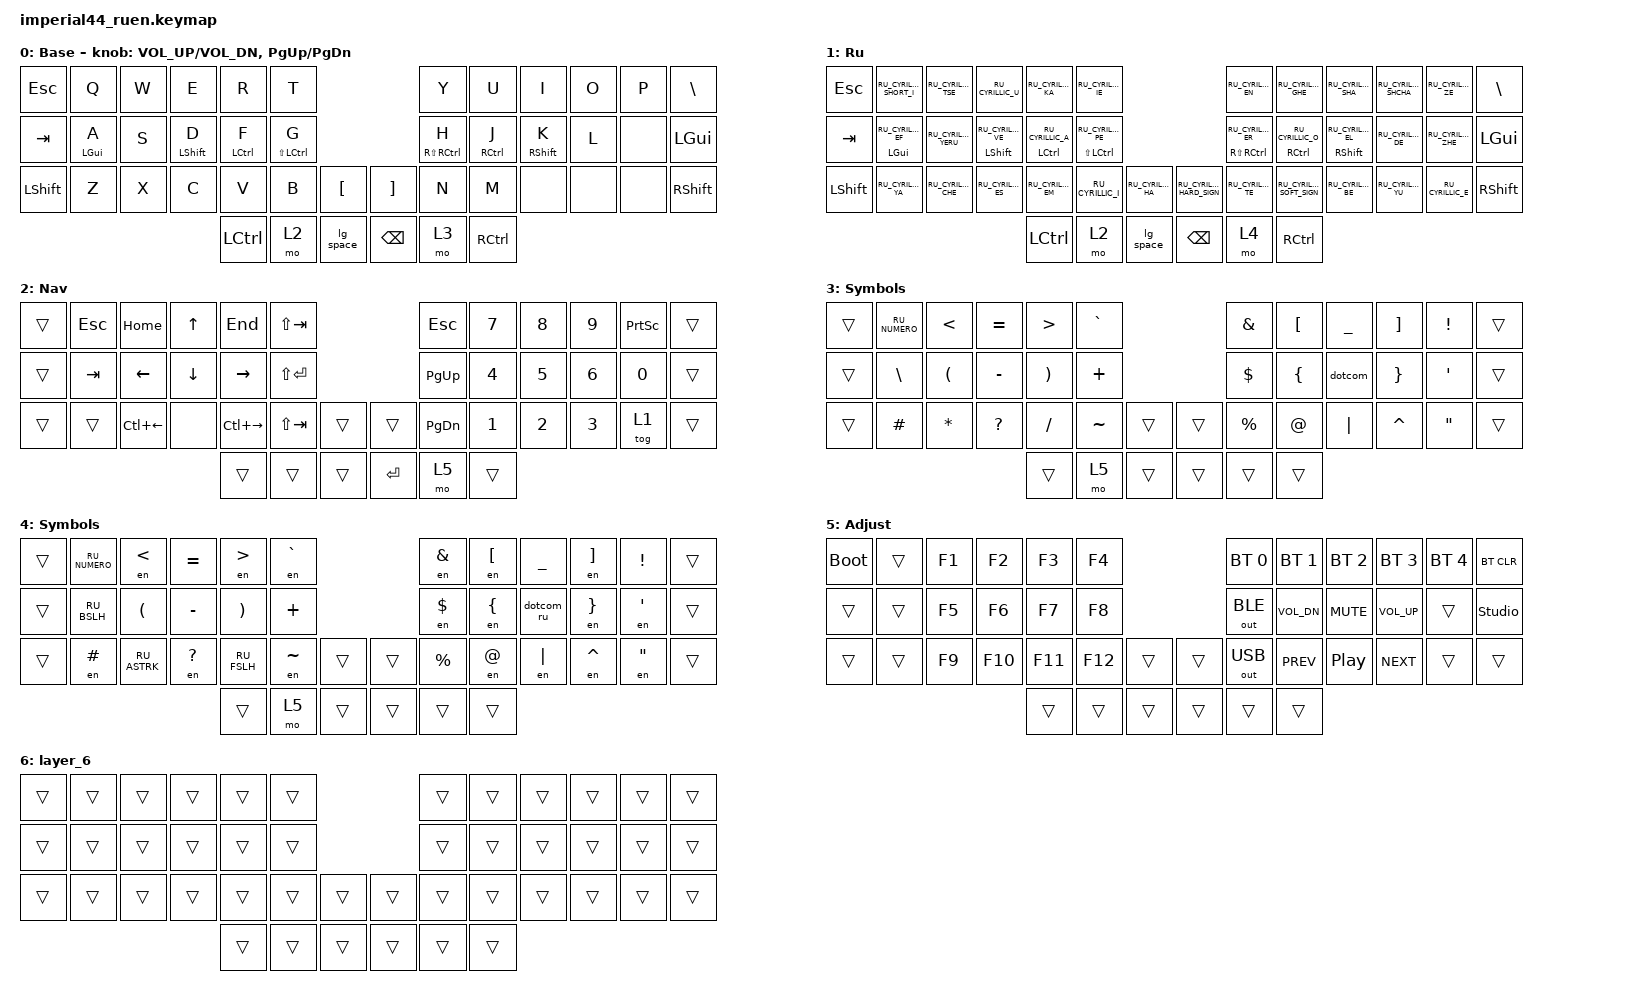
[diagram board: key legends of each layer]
#include "keys_ru.h"
#include <behaviors.dtsi>
#include <dt-bindings/zmk/bt.h>
#include <dt-bindings/zmk/keys.h>
#include <dt-bindings/zmk/outputs.h>

&mt {
    tapping-term-ms = <200>;
    flavor = "tap-preferred";
    quick-tap-ms = <175>;
};

/ {
    combos {
        compatible = "zmk,combos";

        cmben {
            bindings = <&layer_en>;
            key-positions = <15 16>;
            layers = <1>;
        };

        cmbru {
            bindings = <&layer_ru>;
            key-positions = <15 16>;
            layers = <0>;
        };

        dot {
            bindings = <&kp RU_DOT>;
            key-positions = <20 21>;
            layers = <1>;
        };

        comma {
            bindings = <&kp RU_COMMA>;
            key-positions = <19 20>;
            layers = <1>;
        };

        ru_h {
            bindings = <&kp LEFT_BRACKET>;
            key-positions = <8 9>;
        };

        ru_solid_sign {
            bindings = <&kp RIGHT_BRACKET>;
            key-positions = <7 8>;
        };

        comma_en {
            bindings = <&kp COMMA>;
            key-positions = <19 20>;
            layers = <0>;
        };

        dot_en {
            bindings = <&kp DOT>;
            key-positions = <20 21>;
            layers = <0>;
        };

        kaps_word {
            bindings = <&caps_word>;
            key-positions = <15 20>;
        };
    };

    macros {
        to_ru: to_ru {
            compatible = "zmk,behavior-macro";
            #binding-cells = <0>;
            bindings = <&kp LG(SPACE)>;
            label = "TO_RU";
            wait-ms = <0>;
            tap-ms = <30>;
        };

        to_en: to_en {
            compatible = "zmk,behavior-macro";
            #binding-cells = <0>;
            bindings = <&kp LG(SPACE)>;
            label = "TO_EN";
            wait-ms = <0>;
            tap-ms = <30>;
        };

        layer_en: layer_en {
            compatible = "zmk,behavior-macro";
            #binding-cells = <0>;
            bindings = <&to 0 &to_en>;
            label = "LAYER_EN";
            wait-ms = <0>;
            tap-ms = <30>;
        };

        layer_ru: layer_ru {
            compatible = "zmk,behavior-macro";
            #binding-cells = <0>;
            bindings = <&to 1 &to_ru>;
            label = "LAYER_RU";
            tap-ms = <30>;
            wait-ms = <0>;
        };

        en: en {
            compatible = "zmk,behavior-macro-one-param";
            #binding-cells = <1>;
            bindings =
                <&to_en>,
                <&macro_press>,
                <&macro_param_1to1 &kp MACRO_PLACEHOLDER>,
                <&macro_pause_for_release>,
                <&macro_release>,
                <&macro_param_1to1 &kp MACRO_PLACEHOLDER>,
                <&macro_tap>,
                <&to_ru>;

            label = "EN";
            wait-ms = <0>;
            tap-ms = <30>;
        };

        lg_tog: lg_tog {
            compatible = "zmk,behavior-macro";
            #binding-cells = <0>;
            bindings = <&kp LG(SPACE) &tog 1>;
            label = "LG_TOG";
        };
    };

    behaviors {
        lg_space: lg_space {
            compatible = "zmk,behavior-mod-morph";
            label = "LG_SPACE";
            bindings = <&kp SPACE>, <&lg_tog>;

            #binding-cells = <0>;
            mods = <(MOD_LGUI)>;
        };

        dotcom: dotcom {
            compatible = "zmk,behavior-tap-dance";
            label = "DOTCOM";
            #binding-cells = <0>;
            bindings = <&kp SEMI>, <&kp COLON>;
        };

        dotcom_ru: dotcom_ru {
            compatible = "zmk,behavior-tap-dance";
            label = "DOTCOM_RU";
            #binding-cells = <0>;
            bindings = <&en SEMI>, <&en COLON>;
        };
    };

    keymap {
        compatible = "zmk,keymap";

        en {
            bindings = <
&kp ESC    &kp Q           &kp W  &kp E             &kp R               &kp T                                               &kp Y            &kp U        &kp I              &kp O  &kp P  &kp BSLH
&kp TAB    &mt LEFT_GUI A  &kp S  &mt LEFT_SHIFT D  &mt LEFT_CONTROL F  &mt LS(LEFT_CONTROL) G                              &mt RS(RCTRL) H  &mt RCTRL J  &mt RIGHT_SHIFT K  &kp L  &none  &kp LGUI
&kp LSHFT  &kp Z           &kp X  &kp C             &kp V               &kp B                   &kp LBKT     &kp RBKT       &kp N            &kp M        &none              &none  &none  &kp RSHFT
                                                    &kp LCTRL           &mo 2                   &lg_space    &kp BACKSPACE  &mo 3            &kp RCTRL
            >;

            display-name = "Base";
            sensor-bindings =
                <&inc_dec_kp C_VOL_UP C_VOL_DN>,
                <&inc_dec_kp PG_UP PG_DN>;
        };

        ru {
            display-name = "Ru";
            bindings = <
&kp ESC    &kp RU_CYRILLIC_SHORT_I      &kp RU_CYRILLIC_TSE   &kp RU_CYRILLIC_U         &kp RU_CYRILLIC_KA       &kp RU_CYRILLIC_IE                                                             &kp RU_CYRILLIC_EN            &kp RU_CYRILLIC_GHE        &kp RU_CYRILLIC_SHA             &kp RU_CYRILLIC_SHCHA  &kp RU_CYRILLIC_ZE   &kp BSLH
&kp TAB    &mt LEFT_GUI RU_CYRILLIC_EF  &kp RU_CYRILLIC_YERU  &mt LSHFT RU_CYRILLIC_VE  &mt LCTRL RU_CYRILLIC_A  &mt LS(LCTRL) RU_CYRILLIC_PE                                                   &mt RS(RCTRL) RU_CYRILLIC_ER  &mt RCTRL RU_CYRILLIC_O    &mt RIGHT_SHIFT RU_CYRILLIC_EL  &kp RU_CYRILLIC_DE     &kp RU_CYRILLIC_ZHE  &kp LGUI
&kp LSHFT  &kp RU_CYRILLIC_YA           &kp RU_CYRILLIC_CHE   &kp RU_CYRILLIC_ES        &kp RU_CYRILLIC_EM       &kp RU_CYRILLIC_I             &kp RU_CYRILLIC_HA    &kp RU_CYRILLIC_HARD_SIGN  &kp RU_CYRILLIC_TE            &kp RU_CYRILLIC_SOFT_SIGN  &kp RU_CYRILLIC_BE              &kp RU_CYRILLIC_YU     &kp RU_CYRILLIC_E    &kp RSHFT
                                                                                        &kp LCTRL                &mo 2                         &lg_space             &kp BACKSPACE              &mo 4                         &kp RCTRL
            >;
        };

        nav {
            bindings = <
&trans  &kp ESC  &kp HOME      &kp UP    &kp END          &kp LS(TAB)                       &kp ESC        &kp N7        &kp N8        &kp N9        &kp PRINTSCREEN  &trans
&trans  &kp TAB  &kp LEFT      &kp DOWN  &kp RIGHT_ARROW  &kp LS(RET)                       &kp PAGE_UP    &kp NUMBER_4  &kp NUMBER_5  &kp N6        &kp N0           &trans
&trans  &trans   &kp LC(LEFT)  &none     &kp LC(RIGHT)    &kp LS(TAB)  &trans    &trans     &kp PAGE_DOWN  &kp N1        &kp NUMBER_2  &kp NUMBER_3  &tog 1           &trans
                                         &trans           &trans       &trans    &kp ENTER  &mo 5          &trans
            >;

            display-name = "Nav";
        };

        sym_en {
            bindings = <
&trans  &kp RU_NUMERO  &kp LT    &kp EQUAL  &kp GT    &kp GRAVE                    &kp AMPERSAND  &kp LBKT     &kp UNDER  &kp RBKT   &kp EXCL  &trans
&trans  &kp BSLH       &kp LPAR  &kp MINUS  &kp RPAR  &kp PLUS                     &kp DOLLAR     &kp LBRC     &dotcom    &kp RBRC   &kp SQT   &trans
&trans  &kp HASH       &kp STAR  &kp QMARK  &kp FSLH  &kp TILDE  &trans    &trans  &kp PERCENT    &kp AT_SIGN  &kp PIPE   &kp CARET  &kp DQT   &trans
                                            &trans    &mo 5      &trans    &trans  &trans         &trans
            >;

            display-name = "Symbols";
        };

        sym_ru {
            display-name = "Symbols";
            bindings = <
&trans  &kp RU_NUMERO  &en LT        &kp EQUAL  &en GT       &en GRAVE                    &en AMPERSAND  &en LBKT     &kp UNDER   &en RBKT   &kp EXCLAMATION  &trans
&trans  &kp RU_BSLH    &kp LPAR      &kp MINUS  &kp RPAR     &kp PLUS                     &en DOLLAR     &en LBRC     &dotcom_ru  &en RBRC   &en SQT          &trans
&trans  &en HASH       &kp RU_ASTRK  &en QMARK  &kp RU_FSLH  &en TILDE  &trans    &trans  &kp PERCENT    &en AT_SIGN  &en PIPE    &en CARET  &en DQT          &trans
                                                &trans       &mo 5      &trans    &trans  &trans         &trans
            >;
        };

        adj {
            bindings = <
&bootloader  &trans  &kp F1  &kp F2   &kp F3   &kp F4                     &bt BT_SEL 0  &bt BT_SEL 1  &bt BT_SEL 2      &bt BT_SEL 3  &bt BT_SEL 4  &bt BT_CLR
&trans       &trans  &kp F5  &kp F6   &kp F7   &kp F8                     &out OUT_BLE  &kp C_VOL_DN  &kp C_MUTE        &kp C_VOL_UP  &trans        &studio_unlock
&trans       &trans  &kp F9  &kp F10  &kp F11  &kp F12  &trans    &trans  &out OUT_USB  &kp C_PREV    &kp C_PLAY_PAUSE  &kp C_NEXT    &trans        &trans
                                      &trans   &trans   &trans    &trans  &trans        &trans
            >;

            display-name = "Adjust";
        };

        layer_6 {
            bindings = <
&trans  &trans  &trans  &trans  &trans  &trans                    &trans  &trans  &trans  &trans  &trans  &trans
&trans  &trans  &trans  &trans  &trans  &trans                    &trans  &trans  &trans  &trans  &trans  &trans
&trans  &trans  &trans  &trans  &trans  &trans  &trans    &trans  &trans  &trans  &trans  &trans  &trans  &trans
                                &trans  &trans  &trans    &trans  &trans  &trans
            >;
        };
    };
};
